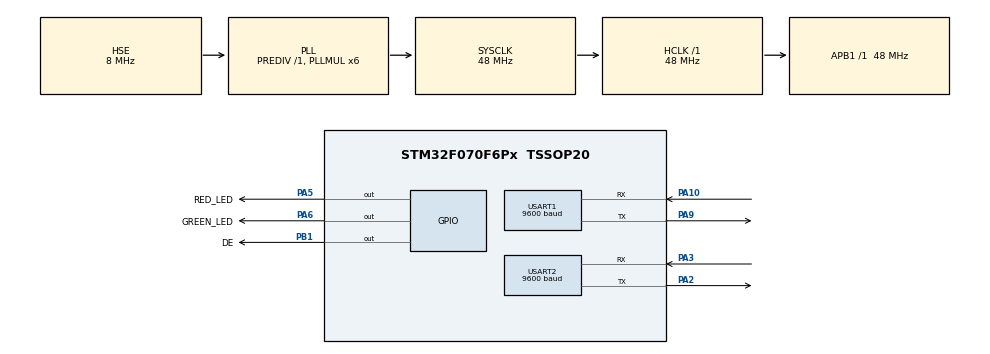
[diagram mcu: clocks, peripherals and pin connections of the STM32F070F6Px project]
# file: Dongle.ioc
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Dma.Request0=USART1_RX
Dma.Request1=USART2_RX
Dma.Request2=USART2_TX
Dma.Request3=USART1_TX
Dma.USART1_RX.0.Direction=DMA_PERIPH_TO_MEMORY
Dma.USART1_RX.0.Instance=DMA1_Channel3
Dma.USART1_RX.0.MemDataAlignment=DMA_MDATAALIGN_BYTE
Dma.USART1_RX.0.MemInc=DMA_MINC_ENABLE
Dma.USART1_RX.0.Mode=DMA_CIRCULAR
Dma.USART1_RX.0.PeriphDataAlignment=DMA_PDATAALIGN_BYTE
Dma.USART1_RX.0.PeriphInc=DMA_PINC_DISABLE
Dma.USART1_RX.0.Priority=DMA_PRIORITY_HIGH
Dma.USART1_TX.3.Direction=DMA_MEMORY_TO_PERIPH
Dma.USART1_TX.3.Instance=DMA1_Channel2
Dma.USART1_TX.3.MemDataAlignment=DMA_MDATAALIGN_BYTE
Dma.USART1_TX.3.MemInc=DMA_MINC_ENABLE
Dma.USART1_TX.3.Mode=DMA_NORMAL
Dma.USART1_TX.3.PeriphDataAlignment=DMA_PDATAALIGN_BYTE
Dma.USART1_TX.3.PeriphInc=DMA_PINC_DISABLE
Dma.USART1_TX.3.Priority=DMA_PRIORITY_HIGH
Dma.USART2_RX.1.Direction=DMA_PERIPH_TO_MEMORY
Dma.USART2_RX.1.Instance=DMA1_Channel5
Dma.USART2_RX.1.MemDataAlignment=DMA_MDATAALIGN_BYTE
Dma.USART2_RX.1.MemInc=DMA_MINC_ENABLE
Dma.USART2_RX.1.Mode=DMA_CIRCULAR
Dma.USART2_RX.1.PeriphDataAlignment=DMA_PDATAALIGN_BYTE
Dma.USART2_RX.1.PeriphInc=DMA_PINC_DISABLE
Dma.USART2_RX.1.Priority=DMA_PRIORITY_HIGH
Dma.USART2_TX.2.Direction=DMA_MEMORY_TO_PERIPH
Dma.USART2_TX.2.Instance=DMA1_Channel4
Dma.USART2_TX.2.MemDataAlignment=DMA_MDATAALIGN_BYTE
Dma.USART2_TX.2.MemInc=DMA_MINC_ENABLE
Dma.USART2_TX.2.Mode=DMA_NORMAL
Dma.USART2_TX.2.PeriphDataAlignment=DMA_PDATAALIGN_BYTE
Dma.USART2_TX.2.PeriphInc=DMA_PINC_DISABLE
Dma.USART2_TX.2.Priority=DMA_PRIORITY_HIGH
Mcu.Family=STM32F0
Mcu.Name=STM32F070F6Px
Mcu.Package=TSSOP20
NVIC.DMA1_Channel2_3_IRQn=true\:0\:0\:false\:false\:true\:false\:true
NVIC.DMA1_Channel4_5_IRQn=true\:0\:0\:false\:false\:true\:false\:true
NVIC.TIM14_IRQn=true\:0\:0\:false\:false\:true\:true\:true
NVIC.USART1_IRQn=true\:0\:0\:false\:false\:true\:true\:true
NVIC.USART2_IRQn=true\:0\:0\:false\:false\:true\:true\:true
PA10.Mode=Asynchronous
PA10.Signal=USART1_RX
PA13.Mode=Serial_Wire
PA13.Signal=SYS_SWDIO
PA14.Mode=Serial_Wire
PA14.Signal=SYS_SWCLK
PA2.Mode=Asynchronous
PA2.Signal=USART2_TX
PA3.Mode=Asynchronous
PA3.Signal=USART2_RX
PA5.GPIO_Label=RED_LED
PA5.PinState=GPIO_PIN_SET
PA5.Signal=GPIO_Output
PA6.GPIO_Label=GREEN_LED
PA6.PinState=GPIO_PIN_SET
PA6.Signal=GPIO_Output
PA9.Mode=Asynchronous
PA9.Signal=USART1_TX
PB1.GPIO_Label=DE
PB1.GPIO_PuPd=GPIO_PULLDOWN
PB1.Signal=GPIO_Output
PF0-OSC_IN.Mode=HSE-External-Oscillator
PF0-OSC_IN.Signal=RCC_OSC_IN
PF1-OSC_OUT.Mode=HSE-External-Oscillator
PF1-OSC_OUT.Signal=RCC_OSC_OUT
ProjectManager.HeapSize=0x200
ProjectManager.StackSize=0x400
ProjectManager.TargetToolchain=Other Toolchains (GPDSC)
RCC.AHBFreq_Value=48000000
RCC.APB1Freq_Value=48000000
RCC.APB1TimFreq_Value=48000000
RCC.HCLKFreq_Value=48000000
RCC.PLLMUL=RCC_PLL_MUL6
RCC.PLLSourceVirtual=RCC_PLLSOURCE_HSE
RCC.SYSCLKFreq_VALUE=48000000
RCC.SYSCLKSource=RCC_SYSCLKSOURCE_PLLCLK
TIM14.Period=999
TIM14.Prescaler=48000
USART1.BaudRate=9600
USART1.VirtualMode=VM_ASYNC
USART2.BaudRate=9600
USART2.VirtualMode-Asynchronous=VM_ASYNC
VP_TIM14_VS_ClockSourceINT.Mode=Enable_Timer
board=custom

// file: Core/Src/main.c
/* USER CODE BEGIN Header */
/**
  ******************************************************************************
  * @file           : main.c
  * @brief          : Main program body
  ******************************************************************************
  * @attention
  *
  * <h2><center>&copy; Copyright (c) 2019 STMicroelectronics.
  * All rights reserved.</center></h2>
  *
  * This software component is licensed by ST under BSD 3-Clause license,
  * the "License"; You may not use this file except in compliance with the
  * License. You may obtain a copy of the License at:
  *                        opensource.org/licenses/BSD-3-Clause
  *
  ******************************************************************************
  */
/* USER CODE END Header */

#include "main.h"

/* USER CODE BEGIN Includes */
//#include "ring_buffer.h"
#include "modbus.h"
#include "flash.h"
/* USER CODE END Includes */

/* USER CODE BEGIN PM */

//------------------------------------------------------------------ for rx from mcu
typedef struct
{
	uint8_t		prefix;
	uint8_t		byte_count;
	uint8_t		function;
	uint8_t		data_buff[BUFFER_SIZE];
} rx_frame_t;

typedef union
{
	rx_frame_t  rx_frame;
	uint8_t		rx_raw_frame[BUFFER_SIZE];
} rx_union_u;

rx_union_u rx_raw;

uint8_t rx_size;
uint8_t odd_flag;
//------------------------------------------------------------------

//------------------------------------------------------------------ for tx to mcu
typedef struct
{
	uint8_t		prefix;
	uint8_t		byte_count;
	uint8_t		function;
	uint8_t		data_buff[BUFFER_SIZE];
} tx_frame_t;

typedef union
{
	tx_frame_t  tx_frame;
	uint8_t		tx_raw_frame[BUFFER_SIZE];
} tx_union_u;

tx_union_u tx_raw;

//uint8_t rx_size;
//uint8_t odd_flag;
//------------------------------------------------------------------

//uint8_t tmp_buff[BUFFER_SIZE] ;
//uint16_t rx_buff[BUFFER_SIZE];
//uint8_t	tx_buff[BUFFER_SIZE];
//uint8_t modbus_slave_cmd[11] = { 0xE4, 0x03, 0x06, 0xAE, 0x41, 0x56, 0x52, 0x43, 0x40, 0x49, 0xAD };
//uint8_t tmp_rmp[1] = { 0xAA };

//uint8_t modbus_master_cmd[BUFFER_SIZE];

//ring_buff_t ring_buffer;
//uint16_t start_ptr;
/* USER CODE END PM */

TIM_HandleTypeDef	htim14;
UART_HandleTypeDef	huart1;
UART_HandleTypeDef	huart2;
DMA_HandleTypeDef	hdma_usart1_rx;
DMA_HandleTypeDef	hdma_usart1_tx;
DMA_HandleTypeDef	hdma_usart2_rx;
DMA_HandleTypeDef	hdma_usart2_tx;

void SystemClock_Config(void);
static void MX_GPIO_Init(void);
static void MX_DMA_Init(void);
static void MX_USART1_UART_Init(void);
static void MX_USART2_UART_Init(void);
static void MX_TIM14_Init(void);
void modbus_handler();

int main(void)
{

  /* MCU Configuration--------------------------------------------------------*/

  /* Reset of all peripherals, Initializes the Flash interface and the Systick. */
  HAL_Init();

  /* Configure the system clock */
  SystemClock_Config();

  /* Initialize all configured peripherals */
  MX_GPIO_Init();
  MX_DMA_Init();
  MX_USART1_UART_Init();
  MX_USART2_UART_Init();
  MX_TIM14_Init();
  /* USER CODE BEGIN 2 */
  HAL_GPIO_WritePin(DE_GPIO_Port, DE_Pin, GPIO_PIN_RESET);
	//HAL_UART_Receive_DMA(&huart1, rx_485_buff, sizeof(rx_485_buff));
  HAL_UART_Receive_DMA(&huart1, modbus_raw.modbus_master_frame, sizeof(modbus_raw.modbus_master_frame));
	//HAL_UART_Receive_DMA(&huart2, tmp_buff, 10);
  HAL_TIM_Base_Start_IT(&htim14);
  /* USER CODE END 2 */

  /* Infinite loop */
  while (1)
  {
    /* USER CODE BEGIN 3 */
	  if (modbus_rx_complete)
	  {
		  modbus_rx_complete = FALSE;
		  modbus_handler();
	  }
  }
  /* USER CODE END 3 */
}
/* USER CODE BEGIN 4 */
void modbus_handler()
{
	bzero(rx_raw.rx_raw_frame, BUFFER_SIZE);
	bzero(tx_raw.tx_raw_frame, BUFFER_SIZE);

	switch (modbus_raw.modbus_frame.function)
	{
	case MODBUS_READ_HOLDING_REG:

		switch (__builtin_bswap16(modbus_raw.modbus_frame.start_reg_address))
		{
		case reg_UUID:
			HAL_UART_Transmit_IT(&huart2, read_UUID, sizeof(read_UUID));
			rx_size = 10;
			break;
		case reg_UDID:
			HAL_UART_Transmit_IT(&huart2, read_UDID, sizeof(read_UDID));
			rx_size = 20;
			break;
		case reg_SETTINGS:
			HAL_UART_Transmit_IT(&huart2, read_SETTINGS, sizeof(read_SETTINGS));
			rx_size = 15;
			odd_flag = TRUE;
			break;
		case reg_DATE:
			HAL_UART_Transmit_IT(&huart2, read_DATE, sizeof(read_DATE));
			rx_size = 19;
			odd_flag = TRUE;
			break;
		case reg_WEEK_PTS:
			HAL_UART_Transmit_IT(&huart2, read_WEEK_PTS, sizeof(read_WEEK_PTS));
			rx_size = 11;
			odd_flag = TRUE;
			break;
		case reg_CUSTOM_DAY_PTS:
			HAL_UART_Transmit_IT(&huart2, read_CUSTOM_DAY_PTS, sizeof(read_CUSTOM_DAY_PTS));
			rx_size = 28;
			break;
		default:
			//return illigal data address
			modbus_error_handler(ILLEGAL_DATA_ADDRESS);
			rx_size = 0;
			break;
		}
		break;

	case MODBUS_WRITE_MULTIPLY_REG:

		tx_raw.tx_frame.prefix = 0xAA;											// prefix is similar for all frames

		switch (__builtin_bswap16(modbus_raw.modbus_frame.start_reg_address))
		{
		case reg_UDID:
			tx_raw.tx_frame.byte_count = modbus_raw.modbus_frame.data_buff[0] + 1; 	// + 1 byte cmd
			tx_raw.tx_frame.function = 0x06;
			memcpy(tx_raw.tx_frame.data_buff, (modbus_raw.modbus_frame.data_buff + 1), modbus_raw.modbus_frame.data_buff[0]);
			tx_raw.tx_frame.data_buff[modbus_raw.modbus_frame.data_buff[0]] = checksum8(tx_raw.tx_raw_frame, tx_raw.tx_frame.byte_count + 2);

			HAL_UART_Transmit_IT(&huart2, tx_raw.tx_raw_frame, tx_raw.tx_frame.byte_count + 3); // size with checksum8
			rx_size = 20;
			break;
		case reg_SETTINGS:
//			tx_raw.tx_frame.byte_count = modbus_raw.modbus_frame.data_buff[0]; 	// byte count is 12 but significant bytes is 11, + 1 byte cmd
//			tx_raw.tx_frame.function = 0x0A;
//			memcpy(tx_raw.tx_frame.data_buff, (modbus_raw.modbus_frame.data_buff + 1), modbus_raw.modbus_frame.data_buff[0] - 1); // - 1 non significant byte
//			tx_raw.tx_frame.data_buff[modbus_raw.modbus_frame.data_buff[0] - 1] = checksum8(tx_raw.tx_raw_frame, tx_raw.tx_frame.byte_count + 2);
//
//			HAL_UART_Transmit_IT(&huart2, tx_raw.tx_raw_frame, tx_raw.tx_frame.byte_count + 3);  // size with checksum8

			tx_raw.tx_frame.byte_count = (modbus_raw.modbus_frame.data_buff[0] / 2) + 1;
			tx_raw.tx_frame.function = 0x0A;
			uint8_t y = 0;

			for (uint8_t i = 2; i <= modbus_raw.modbus_frame.data_buff[0]; i += 2)
			{
				tx_raw.tx_frame.data_buff[y] = modbus_raw.modbus_frame.data_buff[i];
				y++;
			}
			tx_raw.tx_frame.data_buff[tx_raw.tx_frame.byte_count - 1] = checksum8(tx_raw.tx_raw_frame, tx_raw.tx_frame.byte_count + 2);
			HAL_UART_Transmit_IT(&huart2, tx_raw.tx_raw_frame, tx_raw.tx_frame.byte_count + 3);   // size with checksum8
			rx_size = 15;
			//odd_flag = TRUE;
			break;
		case reg_DATE:
			tx_raw.tx_frame.byte_count = modbus_raw.modbus_frame.data_buff[0] + 8;  	// byte count for frame to set Date is 8 byte 0x00 and 7 byte Date (7 byte + 1 non signif.), + 1 byte cmd
			tx_raw.tx_frame.function = 0xA7;
			memcpy((tx_raw.tx_frame.data_buff + 8), (modbus_raw.modbus_frame.data_buff + 1), modbus_raw.modbus_frame.data_buff[0] - 1);  // "+ 8" - offset for 8 byte 0x00, "- 1" - non significant byte
			tx_raw.tx_frame.data_buff[modbus_raw.modbus_frame.data_buff[0] + 7] = checksum8(tx_raw.tx_raw_frame, tx_raw.tx_frame.byte_count + 2);

			HAL_UART_Transmit_IT(&huart2, tx_raw.tx_raw_frame, tx_raw.tx_frame.byte_count + 3);   // size with checksum8
			rx_size = 19;
			//odd_flag = TRUE;
			break;
		case reg_WEEK_PTS:
			tx_raw.tx_frame.byte_count = modbus_raw.modbus_frame.data_buff[0];  	// byte count is 12 but significant bytes is 11, + 1 byte cmd
			tx_raw.tx_frame.function = 0xA8;
			memcpy(tx_raw.tx_frame.data_buff, (modbus_raw.modbus_frame.data_buff + 1), tx_raw.tx_frame.byte_count - 1);   // - 1 non significant byte
			tx_raw.tx_frame.data_buff[tx_raw.tx_frame.byte_count - 1] = checksum8(tx_raw.tx_raw_frame, tx_raw.tx_frame.byte_count + 2);

			HAL_UART_Transmit_IT(&huart2, tx_raw.tx_raw_frame, tx_raw.tx_frame.byte_count + 3);   // size with checksum8

			rx_size = 11;
			//odd_flag = TRUE;
			break;
		case reg_CUSTOM_DAY_PTS:
			tx_raw.tx_frame.byte_count = modbus_raw.modbus_frame.data_buff[0] + 1;  	// + 1 byte cmd
			tx_raw.tx_frame.function = 0xA9;
			memcpy(tx_raw.tx_frame.data_buff, (modbus_raw.modbus_frame.data_buff + 1), modbus_raw.modbus_frame.data_buff[0]);
			tx_raw.tx_frame.data_buff[modbus_raw.modbus_frame.data_buff[0]] = checksum8(tx_raw.tx_raw_frame, tx_raw.tx_frame.byte_count + 2);

			HAL_UART_Transmit_IT(&huart2, tx_raw.tx_raw_frame, tx_raw.tx_frame.byte_count + 3);  // size with checksum8
			rx_size = 28;
			break;
		default:
			//return illigal data address
			modbus_error_handler(ILLEGAL_DATA_ADDRESS);
			rx_size = 0;
			break;
		}

		break;

	case MODBUS_WRITE_SINGLE_REG:
	//------------SETTINGS---------------------
	if((__builtin_bswap16(modbus_raw.modbus_frame.start_reg_address) >= reg_SETTINGS)&& (__builtin_bswap16(modbus_raw.modbus_frame.start_reg_address) < reg_DATE))
	{
		HAL_UART_Transmit(&huart2, read_SETTINGS, sizeof(read_SETTINGS), 200);
		rx_size = 15;
		HAL_UART_Receive(&huart2, rx_raw.rx_raw_frame, rx_size, 500);
		rx_raw.rx_frame.data_buff[__builtin_bswap16(modbus_raw.modbus_frame.start_reg_address) - reg_SETTINGS] = __builtin_bswap16(modbus_raw.modbus_frame.reg_count);
		rx_raw.rx_frame.function = 0x0A;
		rx_raw.rx_frame.data_buff[rx_size - 4] = checksum8(rx_raw.rx_raw_frame, rx_raw.rx_frame.byte_count + 2);

		HAL_UART_Transmit_IT(&huart2, rx_raw.rx_raw_frame, rx_size);
	}

	break;

	default:
		//return ILLEGAL FUNCTION
		modbus_error_handler(ILLEGAL_FUNCTION);
		rx_size = 0;
		break;
	}
	if(rx_size) HAL_UART_Receive_IT(&huart2, rx_raw.rx_raw_frame, rx_size);

}

void modbus_error_handler(uint8_t error)
{
	modbus_err_raw.modbus_err_frame.address = modbus_raw.modbus_frame.address;
	modbus_err_raw.modbus_err_frame.function = modbus_raw.modbus_frame.function | 0x80;
	modbus_err_raw.modbus_err_frame.err_code = error;
	modbus_err_raw.modbus_err_frame.mb_CRC = modbus_rtu_calc_crc(modbus_err_raw.modbus_slave_err_frame, 3);
	HAL_GPIO_WritePin(DE_GPIO_Port, DE_Pin, GPIO_PIN_SET);
	HAL_UART_Transmit_DMA(&huart1, modbus_err_raw.modbus_slave_err_frame, 5);
}

void HAL_UART_RxCpltCallback(UART_HandleTypeDef *huart)
{
	if (huart == &huart1)
	{

	}
	else
	if (huart == &huart2)
	{
		if (checksum8(rx_raw.rx_raw_frame, (rx_size - 1)) ==  rx_raw.rx_raw_frame[rx_size - 1])
		{
			//prepare modbus_slave_frame
			switch(modbus_raw.modbus_frame.function)
			{
			case MODBUS_READ_HOLDING_REG:

				bzero(modbus_03_raw.modbus_frame.data_buff, BUFFER_SIZE);
				modbus_03_raw.modbus_frame.address = modbus_raw.modbus_frame.address;
				modbus_03_raw.modbus_frame.function = modbus_raw.modbus_frame.function;

				//modbus_03_raw.modbus_frame.byte_count = (rx_raw.rx_frame.byte_count - 1) * 2;
				//memcpy(modbus_03_raw.modbus_frame.data_buff, rx_raw.rx_frame.data_buff, modbus_03_raw.modbus_frame.byte_count);

				if ((__builtin_bswap16(modbus_raw.modbus_frame.start_reg_address)) == reg_DATE)
				{
					uint8_t y = 8;
					modbus_03_raw.modbus_frame.byte_count = (rx_raw.rx_frame.byte_count - 1) * 2 - 16;
					for (uint8_t i = 1; i < modbus_03_raw.modbus_frame.byte_count; i += 2)
					{
						modbus_03_raw.modbus_frame.data_buff[i] = rx_raw.rx_frame.data_buff[y];
						y++;
					}
				}
				else
				{
					uint8_t y = 0;
					modbus_03_raw.modbus_frame.byte_count = (rx_raw.rx_frame.byte_count - 1) * 2;
					for (uint8_t i = 1; i < modbus_03_raw.modbus_frame.byte_count; i += 2)
					{
						modbus_03_raw.modbus_frame.data_buff[i] = rx_raw.rx_frame.data_buff[y];
						y++;
					}
				}

				mb_CRC = modbus_rtu_calc_crc(modbus_03_raw.modbus_slave_frame, modbus_03_raw.modbus_frame.byte_count + 3);
				modbus_03_raw.modbus_slave_frame[modbus_03_raw.modbus_frame.byte_count + 3] = mb_CRC;
				modbus_03_raw.modbus_slave_frame[modbus_03_raw.modbus_frame.byte_count + 4] = mb_CRC >> 8;

				HAL_GPIO_WritePin(DE_GPIO_Port, DE_Pin, GPIO_PIN_SET);
				HAL_UART_Transmit_DMA(&huart1, modbus_03_raw.modbus_slave_frame, modbus_03_raw.modbus_frame.byte_count + 5);
				break;

			case MODBUS_WRITE_MULTIPLY_REG:
				bzero(modbus_10_raw.modbus_slave_frame, 8);
				modbus_10_raw.modbus_frame.address = modbus_raw.modbus_frame.address;
				modbus_10_raw.modbus_frame.function = modbus_raw.modbus_frame.function;
				modbus_10_raw.modbus_frame.start_reg_address = modbus_raw.modbus_frame.start_reg_address;
				modbus_10_raw.modbus_frame.reg_count = modbus_raw.modbus_frame.reg_count;
				modbus_10_raw.modbus_frame.mb_CRC = modbus_rtu_calc_crc(modbus_10_raw.modbus_slave_frame, 6);
				odd_flag = FALSE;
				HAL_GPIO_WritePin(DE_GPIO_Port, DE_Pin, GPIO_PIN_SET);
				HAL_UART_Transmit_DMA(&huart1, modbus_10_raw.modbus_slave_frame, 8);
				break;

			case MODBUS_WRITE_SINGLE_REG:
				HAL_GPIO_WritePin(DE_GPIO_Port, DE_Pin, GPIO_PIN_SET);
				HAL_UART_Transmit_DMA(&huart1, modbus_raw.modbus_master_frame, 8);
				break;
			}
		}

	}
}

void HAL_UART_TxCpltCallback(UART_HandleTypeDef *huart)
{
	//HAL_UART_Receive_IT(&huart2, tmp_buff, sizeof(tmp_buff));
	HAL_GPIO_WritePin(DE_GPIO_Port, DE_Pin, GPIO_PIN_RESET);

	//HAL_UART_Receive_DMA(&huart1, rx_485_buff, sizeof(rx_485_buff));
	//HAL_UART_DMAStop(&huart2);
	//tmp_size = 10;
	//tmp_buff = (uint8_t*)malloc(tmp_size);
	//HAL_UART_Receive_DMA(&huart2, tmp_buff, tmp_size);
}

/* USER CODE END 4 */
void SystemClock_Config(void)
{
  RCC_OscInitTypeDef RCC_OscInitStruct = {0};
  RCC_ClkInitTypeDef RCC_ClkInitStruct = {0};
  RCC_PeriphCLKInitTypeDef PeriphClkInit = {0};

  /** Initializes the CPU, AHB and APB busses clocks
  */
  RCC_OscInitStruct.OscillatorType = RCC_OSCILLATORTYPE_HSE;
  RCC_OscInitStruct.HSEState = RCC_HSE_ON;
  RCC_OscInitStruct.PLL.PLLState = RCC_PLL_ON;
  RCC_OscInitStruct.PLL.PLLSource = RCC_PLLSOURCE_HSE;
  RCC_OscInitStruct.PLL.PLLMUL = RCC_PLL_MUL6;
  RCC_OscInitStruct.PLL.PREDIV = RCC_PREDIV_DIV1;
  if (HAL_RCC_OscConfig(&RCC_OscInitStruct) != HAL_OK)
  {
    Error_Handler();
  }
  /** Initializes the CPU, AHB and APB busses clocks
  */
  RCC_ClkInitStruct.ClockType = RCC_CLOCKTYPE_HCLK|RCC_CLOCKTYPE_SYSCLK
                              |RCC_CLOCKTYPE_PCLK1;
  RCC_ClkInitStruct.SYSCLKSource = RCC_SYSCLKSOURCE_PLLCLK;
  RCC_ClkInitStruct.AHBCLKDivider = RCC_SYSCLK_DIV1;
  RCC_ClkInitStruct.APB1CLKDivider = RCC_HCLK_DIV1;

  if (HAL_RCC_ClockConfig(&RCC_ClkInitStruct, FLASH_LATENCY_1) != HAL_OK)
  {
    Error_Handler();
  }
  PeriphClkInit.PeriphClockSelection = RCC_PERIPHCLK_USART1;
  PeriphClkInit.Usart1ClockSelection = RCC_USART1CLKSOURCE_PCLK1;
  if (HAL_RCCEx_PeriphCLKConfig(&PeriphClkInit) != HAL_OK)
  {
    Error_Handler();
  }
}

static void MX_TIM14_Init(void)
{

  htim14.Instance = TIM14;
  htim14.Init.Prescaler = 48000;
  htim14.Init.CounterMode = TIM_COUNTERMODE_UP;
  htim14.Init.Period = 999;
  htim14.Init.ClockDivision = TIM_CLOCKDIVISION_DIV1;
  htim14.Init.AutoReloadPreload = TIM_AUTORELOAD_PRELOAD_DISABLE;
  if (HAL_TIM_Base_Init(&htim14) != HAL_OK)
  {
    Error_Handler();
  }

}

static void MX_USART1_UART_Init(void)
{

  huart1.Instance = USART1;
  huart1.Init.BaudRate = 9600;
  huart1.Init.WordLength = UART_WORDLENGTH_8B;
  huart1.Init.StopBits = UART_STOPBITS_1;
  huart1.Init.Parity = UART_PARITY_NONE;
  huart1.Init.Mode = UART_MODE_TX_RX;
  huart1.Init.HwFlowCtl = UART_HWCONTROL_NONE;
  huart1.Init.OverSampling = UART_OVERSAMPLING_16;
  huart1.Init.OneBitSampling = UART_ONE_BIT_SAMPLE_DISABLE;
  huart1.AdvancedInit.AdvFeatureInit = UART_ADVFEATURE_NO_INIT;
  if (HAL_UART_Init(&huart1) != HAL_OK)
  {
    Error_Handler();
  }
  /* USER CODE BEGIN USART1_Init 2 */
  SET_BIT(huart1.Instance->CR1, USART_CR1_IDLEIE);
  /* USER CODE END USART1_Init 2 */

}

static void MX_USART2_UART_Init(void)
{

  huart2.Instance = USART2;
  huart2.Init.BaudRate = 9600;
  huart2.Init.WordLength = UART_WORDLENGTH_8B;
  huart2.Init.StopBits = UART_STOPBITS_1;
  huart2.Init.Parity = UART_PARITY_NONE;
  huart2.Init.Mode = UART_MODE_TX_RX;
  huart2.Init.HwFlowCtl = UART_HWCONTROL_NONE;
  huart2.Init.OverSampling = UART_OVERSAMPLING_16;
  huart2.Init.OneBitSampling = UART_ONE_BIT_SAMPLE_DISABLE;
  huart2.AdvancedInit.AdvFeatureInit = UART_ADVFEATURE_NO_INIT;
  if (HAL_UART_Init(&huart2) != HAL_OK)
  {
    Error_Handler();
  }
  /* USER CODE BEGIN USART2_Init 2 */
  //SET_BIT(huart2.Instance->CR1, USART_CR1_IDLEIE);
  /* USER CODE END USART2_Init 2 */

}

static void MX_DMA_Init(void)
{
  /* DMA controller clock enable */
  __HAL_RCC_DMA1_CLK_ENABLE();

  /* DMA interrupt init */
  /* DMA1_Channel2_3_IRQn interrupt configuration */
  HAL_NVIC_SetPriority(DMA1_Channel2_3_IRQn, 0, 0);
  HAL_NVIC_EnableIRQ(DMA1_Channel2_3_IRQn);
  /* DMA1_Channel4_5_IRQn interrupt configuration */
  HAL_NVIC_SetPriority(DMA1_Channel4_5_IRQn, 0, 0);
  HAL_NVIC_EnableIRQ(DMA1_Channel4_5_IRQn);

}

static void MX_GPIO_Init(void)
{
  GPIO_InitTypeDef GPIO_InitStruct = {0};

  /* GPIO Ports Clock Enable */
  __HAL_RCC_GPIOF_CLK_ENABLE();
  __HAL_RCC_GPIOA_CLK_ENABLE();
  __HAL_RCC_GPIOB_CLK_ENABLE();

  /*Configure GPIO pin Output Level */
  HAL_GPIO_WritePin(GPIOA, RED_LED_Pin|GREEN_LED_Pin, GPIO_PIN_SET);

  /*Configure GPIO pin Output Level */
  HAL_GPIO_WritePin(DE_GPIO_Port, DE_Pin, GPIO_PIN_RESET);

  /*Configure GPIO pins : RED_LED_Pin GREEN_LED_Pin */
  GPIO_InitStruct.Pin = RED_LED_Pin|GREEN_LED_Pin;
  GPIO_InitStruct.Mode = GPIO_MODE_OUTPUT_PP;
  GPIO_InitStruct.Pull = GPIO_NOPULL;
  GPIO_InitStruct.Speed = GPIO_SPEED_FREQ_LOW;
  HAL_GPIO_Init(GPIOA, &GPIO_InitStruct);

  /*Configure GPIO pin : DE_Pin */
  GPIO_InitStruct.Pin = DE_Pin;
  GPIO_InitStruct.Mode = GPIO_MODE_OUTPUT_PP;
  GPIO_InitStruct.Pull = GPIO_PULLDOWN;
  GPIO_InitStruct.Speed = GPIO_SPEED_FREQ_LOW;
  HAL_GPIO_Init(DE_GPIO_Port, &GPIO_InitStruct);

}

void Error_Handler(void)
{
}

/************************ (C) COPYRIGHT STMicroelectronics *****END OF FILE****/
